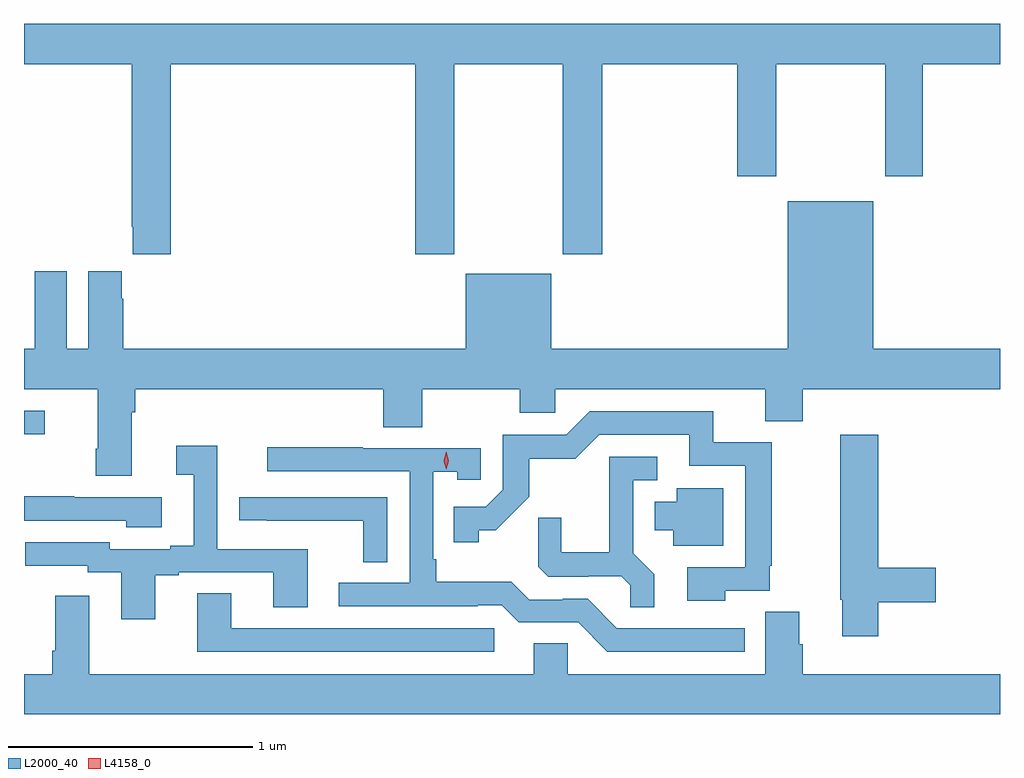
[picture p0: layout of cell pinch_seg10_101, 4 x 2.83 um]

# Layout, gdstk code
import gdstk
lib = gdstk.Library(unit=1e-6, precision=1e-09)
def R(c, l, rs):  # rectangles x0, y0, x1, y1
    for r in rs: c.add(gdstk.rectangle(r[:2], r[2:], *l))
def P(c, l, *ps):  # polygons
    for p in ps: c.add(gdstk.Polygon(p, *l))
L2000_40 = (2000, 40)
L4158_0 = (4158, 0)

pinch_seg10_101 = lib.new_cell('pinch_seg10_101')
R(pinch_seg10_101, L2000_40, [(700.347,1290.807,700.432,1290.903)])
P(pinch_seg10_101, L2000_40, [(700.949,1292.324),(701.951,1292.324),(701.951,1291.545),(702.111,1291.545),(702.111,1292.324),(702.556,1292.324),(702.556,1291.545),(702.716,1291.545),(702.716,1292.324),(703.271,1292.324),(703.271,1291.863),(703.431,1291.863),(703.431,1292.324),(703.876,1292.324),(703.876,1291.863),(704.031,1291.863),(704.031,1292.324),(704.347,1292.324),(704.347,1292.488),(700.347,1292.488),(700.347,1292.324),(700.789,1292.324),(700.789,1291.657),(700.793,1291.657),(700.793,1291.545),(700.949,1291.545)],
  [(700.789,1290.896),(700.802,1290.896),(700.802,1290.992),(701.819,1290.992),(701.819,1290.835),(701.979,1290.835),(701.979,1290.992),(702.379,1290.992),(702.379,1290.894),(702.525,1290.894),(702.525,1290.992),(703.385,1290.992),(703.385,1290.859),(703.538,1290.859),(703.538,1290.992),(704.347,1290.992),(704.347,1291.156),(703.828,1291.156),(703.828,1291.762),(703.478,1291.762),(703.478,1291.156),(702.508,1291.156),(702.508,1291.465),(702.158,1291.465),(702.158,1291.156),(700.754,1291.156),(700.754,1291.361),(700.747,1291.361),(700.747,1291.474),(700.61,1291.474),(700.61,1291.156),(700.522,1291.156),(700.522,1291.474),(700.391,1291.474),(700.391,1291.156),(700.347,1291.156),(700.347,1290.992),(700.649,1290.992),(700.649,1290.748),(700.642,1290.748),(700.642,1290.636),(700.789,1290.636)],
  [(703.221,1290.165),(703.403,1290.165),(703.403,1290.268),(703.411,1290.268),(703.411,1290.774),(703.172,1290.774),(703.172,1290.9),(702.666,1290.9),(702.57,1290.804),(702.309,1290.804),(702.309,1290.579),(702.24,1290.51),(702.109,1290.51),(702.109,1290.363),(702.21,1290.363),(702.21,1290.413),(702.28,1290.413),(702.418,1290.55),(702.418,1290.706),(702.607,1290.706),(702.705,1290.804),(703.073,1290.804),(703.073,1290.678),(703.302,1290.678),(703.302,1290.261),(703.065,1290.261),(703.065,1290.125),(703.221,1290.125)],
  [(703.847,1290.118),(704.083,1290.118),(704.083,1290.26),(703.847,1290.26),(703.847,1290.805),(703.693,1290.805),(703.693,1290.129),(703.7,1290.129),(703.7,1289.979),(703.847,1289.979)],
  [(700.885,1290.228),(700.981,1290.228),(700.981,1290.24),(701.369,1290.24),(701.369,1290.097),(701.509,1290.097),(701.509,1290.336),(701.139,1290.336),(701.139,1290.76),(700.971,1290.76),(700.971,1290.64),(701.042,1290.64),(701.042,1290.349),(700.946,1290.349),(700.946,1290.336),(700.698,1290.336),(700.698,1290.363),(700.353,1290.363),(700.353,1290.267),(700.608,1290.267),(700.608,1290.24),(700.745,1290.24),(700.745,1290.048),(700.885,1290.048)],
  [(703.3,1290.012),(702.777,1290.012),(702.657,1290.132),(702.556,1290.132),(702.556,1290.129),(702.417,1290.129),(702.344,1290.202),(702.037,1290.202),(702.037,1290.295),(702.024,1290.295),(702.024,1290.653),(702.123,1290.653),(702.123,1290.621),(702.219,1290.621),(702.219,1290.75),(701.735,1290.75),(701.735,1290.753),(701.343,1290.753),(701.343,1290.654),(701.928,1290.654),(701.928,1290.198),(701.637,1290.198),(701.637,1290.102),(702.206,1290.102),(702.206,1290.105),(702.306,1290.105),(702.375,1290.036),(702.618,1290.036),(702.738,1289.916),(703.3,1289.916)],
  [(702.929,1290.233),(702.843,1290.319),(702.843,1290.618),(702.943,1290.618),(702.943,1290.714),(702.746,1290.714),(702.746,1290.322),(702.548,1290.322),(702.548,1290.465),(702.454,1290.465),(702.454,1290.263),(702.495,1290.222),(702.66,1290.222),(702.66,1290.225),(702.794,1290.225),(702.831,1290.188),(702.831,1290.097),(702.929,1290.097)],
  [(703.213,1290.586),(703.022,1290.586),(703.022,1290.529),(702.932,1290.529),(702.932,1290.413),(703.007,1290.413),(703.007,1290.35),(703.213,1290.35)],
  [(700.912,1290.549),(700.553,1290.549),(700.553,1290.552),(700.347,1290.552),(700.347,1290.453),(700.767,1290.453),(700.767,1290.425),(700.912,1290.425)],
  [(701.835,1290.549),(701.229,1290.549),(701.229,1290.454),(701.341,1290.454),(701.341,1290.453),(701.737,1290.453),(701.737,1290.283),(701.835,1290.283)],
  [(702.274,1290.012),(701.197,1290.012),(701.197,1290.155),(701.057,1290.155),(701.057,1289.916),(702.274,1289.916)],
  [(704.347,1289.824),(703.538,1289.824),(703.538,1289.946),(703.525,1289.946),(703.525,1290.08),(703.385,1290.08),(703.385,1289.824),(702.576,1289.824),(702.576,1289.951),(702.437,1289.951),(702.437,1289.824),(700.615,1289.824),(700.615,1290.145),(700.475,1290.145),(700.475,1289.92),(700.463,1289.92),(700.463,1289.824),(700.347,1289.824),(700.347,1289.66),(704.347,1289.66)])
P(pinch_seg10_101, L4158_0, [(702.077,1290.663),(702.077,1290.663),(702.067,1290.699),(702.077,1290.734),(702.077,1290.735),(702.077,1290.734),(702.087,1290.699),(702.077,1290.663)])

lib.write_gds('pinch_seg10_101.gds')
